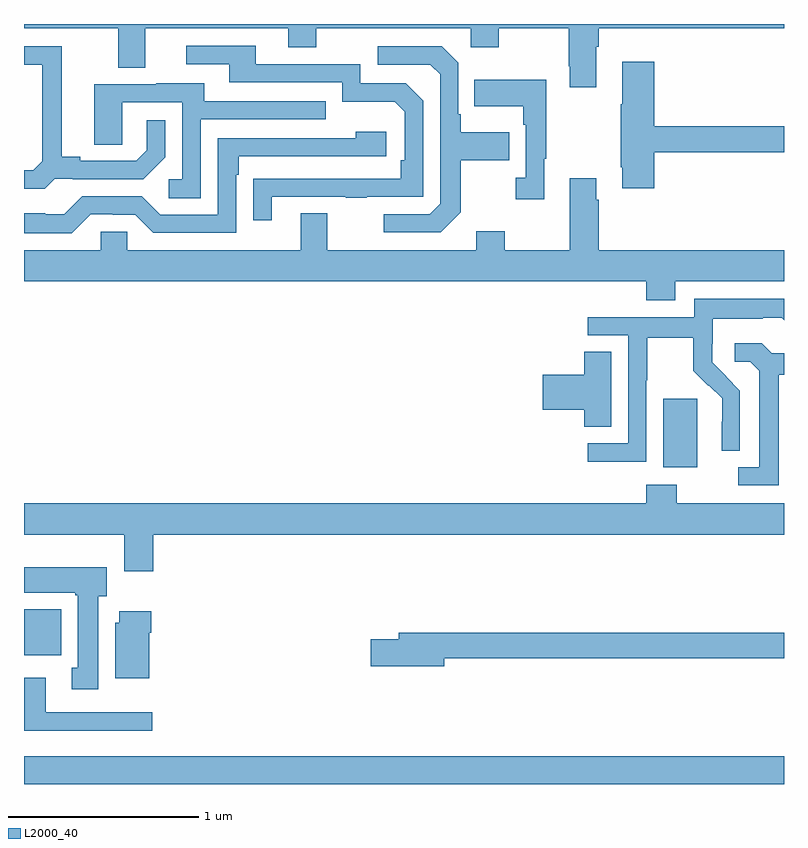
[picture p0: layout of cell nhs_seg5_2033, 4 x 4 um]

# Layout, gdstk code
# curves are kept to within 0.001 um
import gdstk
lib = gdstk.Library(unit=1e-6, precision=1e-09)
def R(c, l, rs):  # rectangles x0, y0, x1, y1
    for r in rs: c.add(gdstk.rectangle(r[:2], r[2:], *l))
def P(c, l, *ps):  # polygons
    for p in ps: c.add(gdstk.Polygon(p, *l))
L2000_40 = (2000, 40)

nhs_seg5_2033 = lib.new_cell('nhs_seg5_2033')
R(nhs_seg5_2033, L2000_40, [(231,836.799,235,836.944), (231,837.476,231.196,837.718), (234.365,838.466,234.544,838.827)])
P(nhs_seg5_2033, L2000_40, [(234.013,840.68),(234.026,840.68),(234.026,840.776),(235,840.776),(235,840.799),(231,840.799),(231,840.776),(231.497,840.776),(231.497,840.568),(231.637,840.568),(231.637,840.776),(232.391,840.776),(232.391,840.677),(232.539,840.677),(232.539,840.776),(233.352,840.776),(233.352,840.677),(233.499,840.677),(233.499,840.776),(233.866,840.776),(233.866,840.577),(233.873,840.577),(233.873,840.465),(234.013,840.465)],
  [(232.303,839.889),(232.693,839.889),(232.693,839.884),(232.805,839.884),(232.805,839.889),(233.1,839.889),(233.1,840.396),(233.01,840.486),(232.77,840.486),(232.77,840.588),(232.219,840.588),(232.219,840.684),(231.855,840.684),(231.855,840.588),(232.079,840.588),(232.079,840.492),(232.674,840.492),(232.674,840.389),(232.951,840.389),(233.004,840.336),(233.004,840.082),(232.984,840.082),(232.984,839.985),(232.207,839.984),(232.207,839.766),(232.303,839.766)],
  [(233.299,839.809),(233.299,840.082),(233.555,840.082),(233.555,840.229),(233.299,840.229),(233.299,840.325),(233.286,840.325),(233.286,840.594),(233.199,840.681),(232.863,840.681),(232.863,840.585),(233.139,840.585),(233.19,840.534),(233.19,839.853),(233.136,839.799),(232.893,839.799),(232.893,839.703),(233.193,839.703)],
  [(231.162,839.985),(231.256,839.985),(231.256,839.982),(231.628,839.982),(231.744,840.098),(231.744,840.292),(231.647,840.292),(231.647,840.135),(231.59,840.078),(231.295,840.078),(231.295,840.101),(231.199,840.101),(231.199,840.681),(231,840.681),(231,840.585),(231.095,840.585),(231.095,840.077),(231.048,840.03),(231,840.03),(231,839.933),(231.11,839.933)],
  [(234.317,840.124),(235,840.124),(235,840.26),(234.317,840.26),(234.317,840.601),(234.149,840.601),(234.149,840.377),(234.142,840.377),(234.142,840.046),(234.149,840.046),(234.149,839.934),(234.317,839.934)],
  [(233.737,840.089),(233.749,840.089),(233.749,840.505),(233.371,840.505),(233.371,840.365),(233.628,840.365),(233.628,840.269),(233.64,840.269),(233.64,839.99),(233.589,839.99),(233.589,839.877),(233.737,839.877)],
  [(231.93,840.297),(232.589,840.297),(232.589,840.393),(231.949,840.393),(231.949,840.487),(231.695,840.487),(231.695,840.483),(231.371,840.483),(231.371,840.163),(231.516,840.163),(231.516,840.387),(231.834,840.387),(231.834,839.982),(231.762,839.982),(231.762,839.881),(231.93,839.881)],
  [(231.351,839.799),(231.467,839.799),(231.467,839.796),(231.585,839.796),(231.681,839.7),(232.116,839.7),(232.116,840.005),(232.129,840.005),(232.129,840.102),(232.906,840.102),(232.906,840.232),(232.745,840.232),(232.745,840.198),(232.02,840.198),(232.02,839.796),(231.717,839.796),(231.621,839.892),(231.306,839.892),(231.213,839.799),(231.113,839.799),(231.113,839.803),(231,839.803),(231,839.699),(231.251,839.699)],
  [(234.427,839.444),(235,839.444),(235,839.608),(234.026,839.608),(234.026,839.873),(234.013,839.873),(234.013,839.986),(233.873,839.986),(233.873,839.608),(233.529,839.608),(233.529,839.707),(233.381,839.707),(233.381,839.608),(232.597,839.608),(232.597,839.803),(232.457,839.803),(232.457,839.608),(231.543,839.608),(231.543,839.706),(231.405,839.706),(231.405,839.608),(231,839.608),(231,839.444),(234.275,839.444),(234.275,839.345),(234.427,839.345)],
  [(234.276,838.924),(234.279,838.924),(234.279,839.148),(234.523,839.148),(234.523,838.973),(234.6,838.896),(234.603,838.899),(234.674,838.829),(234.674,838.706),(234.672,838.706),(234.672,838.552),(234.768,838.552),(234.768,838.87),(234.622,839.018),(234.622,839.115),(234.624,839.115),(234.624,839.249),(234.887,839.249),(234.887,839.253),(234.987,839.253),(235,839.24),(235,839.353),(234.528,839.353),(234.528,839.256),(233.967,839.256),(233.967,839.16),(234.18,839.16),(234.18,838.593),(233.967,838.593),(233.967,838.495),(234.276,838.495)],
  [(234.973,838.952),(235,838.952),(235,839.067),(234.936,839.067),(234.884,839.119),(234.741,839.119),(234.741,839.022),(234.822,839.022),(234.869,838.975),(234.869,838.467),(234.759,838.467),(234.759,838.371),(234.973,838.371)],
  [(234.091,839.075),(233.948,839.075),(233.948,838.952),(233.73,838.952),(233.73,838.769),(233.948,838.769),(233.948,838.678),(234.091,838.678)],
  [(231.68,838.112),(235,838.112),(235,838.276),(234.435,838.276),(234.435,838.375),(234.275,838.375),(234.275,838.276),(231,838.276),(231,838.112),(231.527,838.112),(231.527,837.918),(231.68,837.918)],
  [(231.391,837.786),(231.436,837.786),(231.436,837.94),(231,837.94),(231,837.806),(231.271,837.806),(231.271,837.793),(231.284,837.793),(231.284,837.41),(231.251,837.41),(231.251,837.297),(231.391,837.297)],
  [(231.658,837.596),(231.671,837.596),(231.671,837.709),(231.5,837.709),(231.5,837.648),(231.479,837.648),(231.479,837.356),(231.658,837.356)],
  [(233.212,837.46),(235,837.46),(235,837.596),(232.973,837.596),(232.973,837.56),(232.824,837.56),(232.824,837.418),(233.212,837.418)],
  [(231.676,837.177),(231.115,837.177),(231.115,837.358),(231,837.358),(231,837.08),(231.676,837.08)])

lib.write_gds('nhs_seg5_2033.gds')
